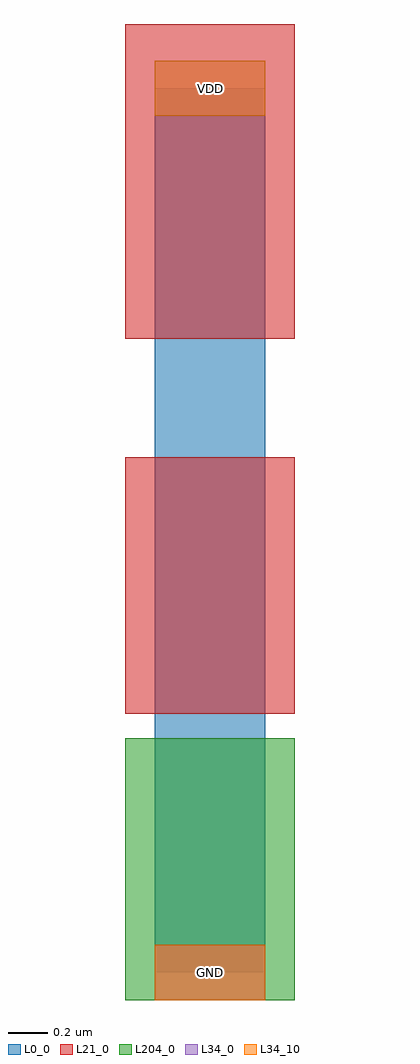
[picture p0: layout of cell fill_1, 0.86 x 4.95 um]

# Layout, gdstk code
import gdstk
lib = gdstk.Library(unit=1e-6, precision=1e-09)
def R(c, l, rs):  # rectangles x0, y0, x1, y1
    for r in rs: c.add(gdstk.rectangle(r[:2], r[2:], *l))
L0_0 = (0, 0)
L21_0 = (21, 0)
L34_0 = (34, 0)
L34_10 = (34, 10)
L204_0 = (204, 0)

fill_1 = lib.new_cell('fill_1')
R(fill_1, L0_0, [(18.325,-1.925,18.885,2.555)])
R(fill_1, L21_0, [(18.175,-0.615,19.035,0.685), (18.175,1.285,19.035,2.88)])
R(fill_1, L34_0, [(18.325,-2.065,18.885,-1.785), (18.325,2.415,18.885,2.695)])
R(fill_1, L34_10, [(18.325,-2.065,18.885,-1.785), (18.325,2.415,18.885,2.695)])
R(fill_1, L204_0, [(18.175,-2.065,19.035,-0.74)])
fill_1.add(gdstk.Label('GND', (18.605,-1.925), layer=34, texttype=10))
fill_1.add(gdstk.Label('VDD', (18.605,2.555), layer=34, texttype=10))

lib.write_gds('fill_1.gds')
